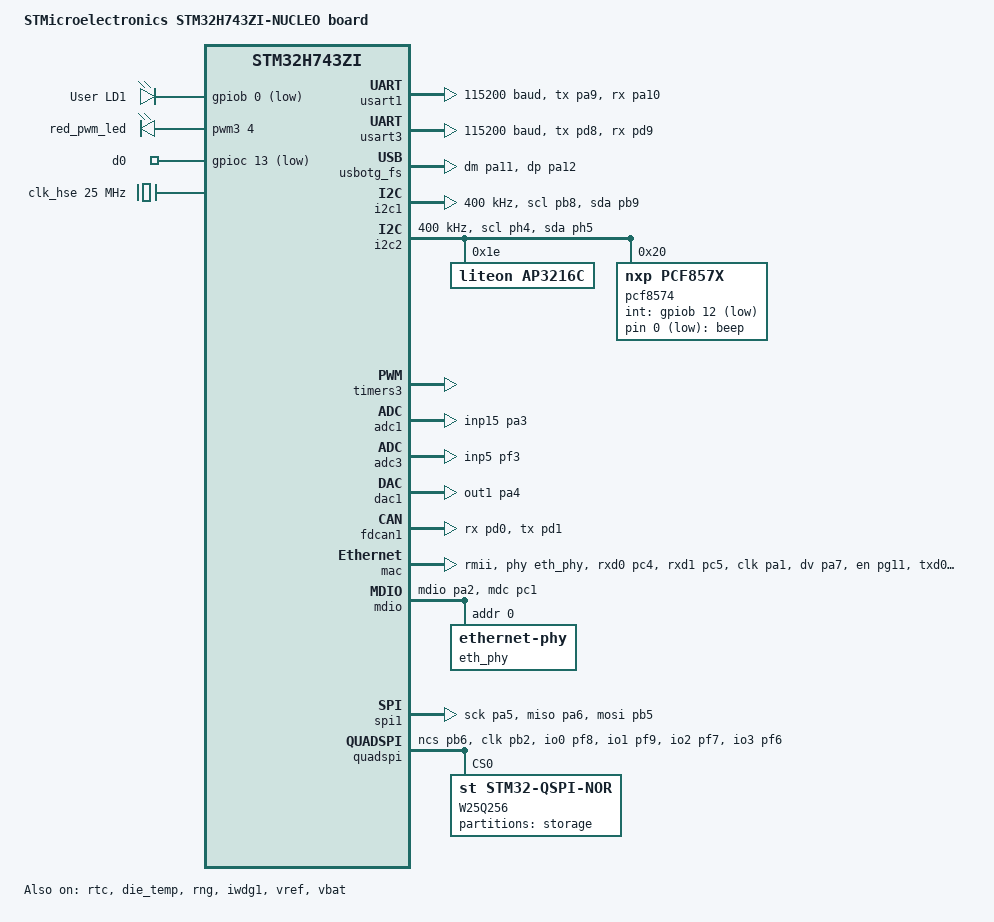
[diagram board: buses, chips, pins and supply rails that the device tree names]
/*
 * Copyright (c) 2020 Teslabs Engineering S.L.
 *
 * SPDX-License-Identifier: Apache-2.0
 */

/dts-v1/;
#include <st/h7/stm32h743Xi.dtsi>
#include <st/h7/stm32h743iitx-pinctrl.dtsi>
#include <zephyr/dt-bindings/input/input-event-codes.h>

/ {
	model = "STMicroelectronics STM32H743ZI-NUCLEO board";
	compatible = "st,stm32h743zi-nucleo";

	chosen {
		zephyr,console = &usart1;
		zephyr,shell-uart = &usart1;
		zephyr,sram = &sram0;
		zephyr,flash = &flash0;
		// zephyr,dtcm = &dtcm;
		// zephyr,code-partition = &slot0_partition;
		// zephyr,canbus = &fdcan1;
		zephyr,flash-controller = &w25q256;
	};

	leds: leds {
		compatible = "gpio-leds";

		green_led: led_0 {
			gpios = <&gpiob 0 GPIO_ACTIVE_LOW>;
			label = "User LD1";
		};

		beep: beeper {
			gpios = <&pcf8574 0 GPIO_ACTIVE_LOW>;
		};

	};

	pwmleds {
		compatible = "pwm-leds";

		red_pwm_led: red_pwm_led {
			pwms = <&pwm3 4 PWM_MSEC(20) PWM_POLARITY_NORMAL>;
		};

	};

	gpio-keys {
		compatible = "gpio-keys";
		polling-mode;

		d0: gpioc13 {
			gpios = <&gpioc 13 (GPIO_PULL_UP | GPIO_ACTIVE_LOW)>;
		};
	};

	custom-buttons {
		button_0: custom_button_0 {
			compatible = "custom,button";
			pin = <&d0>;
		};
	};

	/* 配置挂载点/lfs1 */
	// fstab {
	// 	compatible = "zephyr,fstab";
	// 	lfs1: lfs1 {
	// 		compatible = "zephyr,fstab,littlefs";
	// 		mount-point = "/lfs1";

	// 		/* 文件系统对应的flash partition*/
	// 		partition = <&lfs1_partition>;
	// 		automount;
	// 		no-format;
	// 		read-size = <16>;
	// 		prog-size = <16>;
	// 		cache-size = <64>;
	// 		lookahead-size = <32>;
	// 		block-cycles = <512>;
	// 	};
	// };

	aliases {
		led0 = &green_led;
		pwm-led0 = &red_pwm_led;
		button0 = &button_0;
		watchdog0 = &iwdg;
		die-temp0 = &die_temp;
		volt-sensor0 = &vref;
		volt-sensor1 = &vbat;
		beep0 = &beep;
	};
};

&clk_lsi {
	clock-frequency = <32768>; /* 32.768 kHz 晶振 */
	status = "okay";
};

&clk_hsi48 {
	status = "okay";
};

&clk_hse {
	clock-frequency = <DT_FREQ_M(25)>; 
	status = "okay";
};

&pll {
	div-m = <5>;
	mul-n = <160>;
	div-p = <2>; /* Fsys = clk_hse * (plln / (pllm * pllp)) = 400Mhz */
	div-q = <4>; 
	div-r = <2>;
	clocks = <&clk_hse>;
	status = "okay";
};

&pll2 {
	div-m = <5>;
	mul-n = <160>;
	div-p = <2>;
	div-q = <4>; /* gives 200MHz to the FDCAN; 25.07.17 jiangwei: need check */
	div-r = <2>;
	clocks = <&clk_hse>;
	status = "okay";
};

&rcc {
	clocks = <&pll>;
	clock-frequency = <DT_FREQ_M(400)>;
	d1cpre = <1>;
	hpre = <2>;
	d1ppre = <2>;
	d2ppre1 = <2>;
	d2ppre2 = <2>;
	d3ppre = <2>;
};

/* USART1：高速串口 */
&usart1 {
    pinctrl-0 = <&usart1_tx_pa9 &usart1_rx_pa10>;
	pinctrl-names = "default";
    current-speed = <115200>;
    status = "okay";
};

&usart3 {
	pinctrl-0 = <&usart3_tx_pd8 &usart3_rx_pd9>;
	pinctrl-names = "default";
	current-speed = <115200>;
	status = "okay";
};

zephyr_udc0: &usbotg_fs {
	pinctrl-0 = <&usb_otg_fs_dm_pa11 &usb_otg_fs_dp_pa12>;
	pinctrl-names = "default";
	status = "okay";
};

&rtc {
	clocks = <&rcc STM32_CLOCK_BUS_APB4 0x00010000>,
		 <&rcc STM32_SRC_LSI RTC_SEL(2)>;
	status = "okay";
};

&i2c1 {
	pinctrl-0 = <&i2c1_scl_pb8 &i2c1_sda_pb9>;
	pinctrl-names = "default";
	clock-frequency = <I2C_BITRATE_FAST>;
	status = "okay";
};

&i2c2 {
	pinctrl-0 = <&i2c2_scl_ph4 &i2c2_sda_ph5>;
	pinctrl-names = "default";
	status = "okay";
	clock-frequency = <I2C_BITRATE_FAST>;

	/* AP3216C Ambient Light and Proximity Sensor */
	ap3216c@1e {
		compatible = "liteon,ap3216c";
		reg = <0x1e>;
		status = "okay";
	};

	/* PCF8574T */
	pcf8574: pcf8574t@20 {
		compatible = "nxp,pcf857x";
		reg = <0x20>;
		gpio-controller;
		status = "okay";
		int-gpios = <&gpiob 12 (GPIO_ACTIVE_LOW | GPIO_PULL_UP)>;
        #gpio-cells = <2>;
        ngpios = <8>;            
	};
};

&timers3 {
	st,prescaler = <10000>;
	status = "okay";

	pwm3: pwm {
		status = "okay";
		pinctrl-0 = <&tim3_ch4_pb1>;
		pinctrl-names = "default";
	};
};

&adc1 {
	pinctrl-0 = <&adc1_inp15_pa3>;
	pinctrl-names = "default";
	st,adc-clock-source = "SYNC";
	st,adc-prescaler = <4>;
	status = "okay";
};

&die_temp {
	status = "okay";
};

&adc3 {
	pinctrl-0 = <&adc3_inp5_pf3>;
	pinctrl-names = "default";
	st,adc-clock-source = "SYNC";
	st,adc-prescaler = <4>;
	status = "okay";
};

&dac1 {
	status = "okay";
	pinctrl-0 = <&dac1_out1_pa4>;
	pinctrl-names = "default";
};

&rng {
	status = "okay";
};

&fdcan1 {
	pinctrl-0 = <&fdcan1_rx_pd0 &fdcan1_tx_pd1>;
	pinctrl-names = "default";
	clocks = <&rcc STM32_CLOCK_BUS_APB1_2 0x00000100>,
		 <&rcc STM32_SRC_PLL2_Q FDCAN_SEL(2)>;
	status = "okay";
};

/*
 * WARNING:
 * Possible pin conflicts:
 *          The pins PA2 and PB13 may conflict on selection of ETH_STM32_HAL,
 *          since they are used in ST Zio or ST morpho connectors.
 *          To avoid conflicting states the jumpers JP6 and JP7
 *          must be in ON state.
 */
&mac {
	status = "okay";
	pinctrl-0 = <&eth_rxd0_pc4
		     &eth_rxd1_pc5
		     &eth_ref_clk_pa1
		     &eth_crs_dv_pa7
		     &eth_tx_en_pg11
		     &eth_txd0_pg13
		     &eth_txd1_pb13>;
	pinctrl-names = "default";
	phy-connection-type = "rmii";
	phy-handle = <&eth_phy>;
};

&mdio {
	status = "okay";
	pinctrl-0 = <&eth_mdio_pa2 &eth_mdc_pc1>;
	pinctrl-names = "default";

	eth_phy: ethernet-phy@0 {
		compatible = "ethernet-phy";
		reg = <0x00>;
	};
};

&spi1 {
	status = "okay";
	pinctrl-0 = <&spi1_sck_pa5 &spi1_miso_pa6 &spi1_mosi_pb5>;
	pinctrl-names = "default";
	cs-gpios = <&gpiod 14 (GPIO_ACTIVE_LOW | GPIO_PULL_UP)>;
};

&quadspi {
	status = "okay";
	pinctrl-0 = <&quadspi_bk1_ncs_pb6
			 &quadspi_clk_pb2
		     &quadspi_bk1_io0_pf8
		     &quadspi_bk1_io1_pf9
		     &quadspi_bk1_io2_pf7
		     &quadspi_bk1_io3_pf6>;
	pinctrl-names = "default";

  	w25q256: qspi-nor-flash@0 {
		compatible = "st,stm32-qspi-nor";
		label = "W25Q256";
		reg = <0>; 
		size = <DT_SIZE_M(256)>; /* 256 Mbits */
		qspi-max-frequency = <80000000>;
		spi-bus-width = <4>;
		writeoc = "PP_1_4_4";
		status = "okay";

		partitions {
			compatible = "fixed-partitions";
			#address-cells = <1>;
			#size-cells = <1>;

			lfs1_partition: partition@0 {
				label = "storage";
				reg = <0x0 DT_SIZE_M(32)>;
			};
		};
	};
};

&backup_sram {
	status = "okay";
};

&flash0 {
	partitions {
		compatible = "fixed-partitions";
		#address-cells = <1>;
		#size-cells = <1>;

		// lfs1_partition: partition@100000 {
		// 	label = "storage";
		// 	reg = <0x00100000 DT_SIZE_K(128)>;
		// };

		// /* 128KB for bootloader */
		// boot_partition: partition@0 {
		// 	label = "mcuboot";
		// 	reg = <0x00000000 DT_SIZE_K(128)>;
		// 	read-only;
		// };

		// /* storage: 128KB for settings */
		// storage_partition: partition@20000 {
		// 	label = "storage";
		// 	reg = <0x00020000 DT_SIZE_K(128)>;
		// };

		// /* application image slot: 256KB */
		// slot0_partition: partition@40000 {
		// 	label = "image-0";
		// 	reg = <0x00040000 DT_SIZE_K(256)>;
		// };

		// /* backup slot: 256KB */
		// slot1_partition: partition@80000 {
		// 	label = "image-1";
		// 	reg = <0x00080000 DT_SIZE_K(256)>;
		// };

		// /* swap slot: 128KB */
		// scratch_partition: partition@c0000 {
		// 	label = "image-scratch";
		// 	reg = <0x000c0000 DT_SIZE_K(128)>;
		// };
	};
};

&iwdg1 {
	status = "okay";
};

&vref {
	status = "okay";
};

&vbat {
	status = "okay";
};


